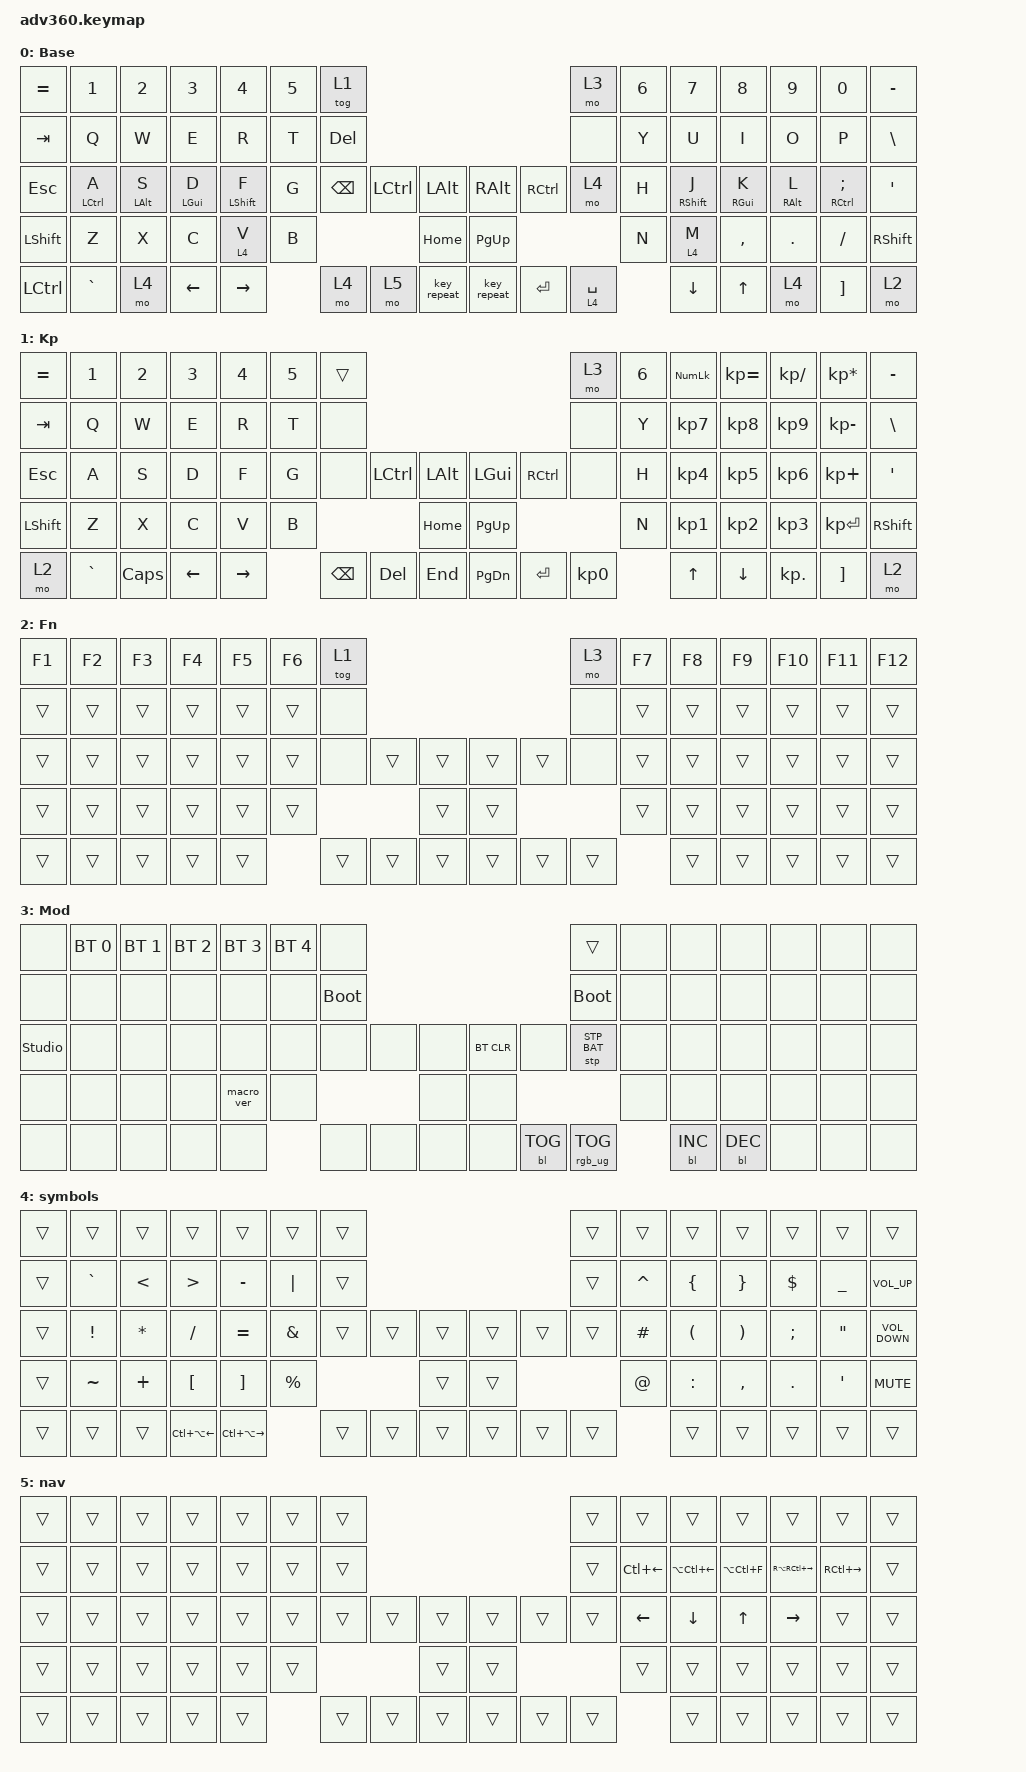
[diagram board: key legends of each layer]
#include <dt-bindings/zmk/stp.h>
#include <behaviors.dtsi>
#include <dt-bindings/zmk/backlight.h>
#include <dt-bindings/zmk/bt.h>
#include <dt-bindings/zmk/keys.h>
#include <dt-bindings/zmk/rgb.h>

/ {
    behaviors {
        #include "macros.dtsi"
        #include "version.dtsi"
        #include "key_pos.dtsi"

        hm: homerow_mods {
            compatible = "zmk,behavior-hold-tap";
            label = "HOMEROW_MODS";
            #binding-cells = <2>;
            tapping-term-ms = <200>;
            quick_tap_ms = <175>;
            flavor = "tap-preferred";
            bindings = <&kp>, <&kp>;
        };

        ltb: layer-tap-balanced {
            compatible = "zmk,behavior-hold-tap";
            label = "LTB";
            #binding-cells = <2>;
            quick_tap_ms = <175>;
            tapping-term-ms = <200>;
            flavor = "balanced";
            bindings = <&mo>, <&kp>;
        };

        hml: homerow_mod_left {
            compatible = "zmk,behavior-hold-tap";
            label = "HOMEROW_MODS_LEFT";
            flavor = "balanced";
            #binding-cells = <2>;
            tapping-term-ms = <280>;
            quick-tap-ms = <175>;
            bindings = <&kp>, <&kp>;

            hold-trigger-key-positions = <KEYS_R THUMBS_RIGHT>;
            hold-trigger-on-release;
        };

        hmr: homerow_mod_right {
            compatible = "zmk,behavior-hold-tap";
            label = "HOMEROW_MODS_RIGHT";
            flavor = "balanced";
            #binding-cells = <2>;
            tapping-term-ms = <280>;
            quick-tap-ms = <175>;
            bindings = <&kp>, <&kp>;

            hold-trigger-key-positions = <KEYS_L THUMBS_LEFT>;
            hold-trigger-on-release;
        };
    };

    keymap {
        compatible = "zmk,keymap";

        default_layer {
            display-name = "Base";
            bindings = <
&kp EQUAL         &kp N1        &kp N2       &kp N3       &kp N4             &kp N5  &tog 1                                                               &mo 3         &kp N6  &kp N7        &kp N8        &kp N9       &kp N0                &kp MINUS
&kp TAB           &kp Q         &kp W        &kp E        &kp R              &kp T   &kp DELETE                                                           &none         &kp Y   &kp U         &kp I         &kp O        &kp P                 &kp BSLH
&kp ESC           &hml LCTRL A  &hml LALT S  &hml LGUI D  &hml LEFT_SHIFT F  &kp G   &kp BACKSPACE  &kp LCTRL  &kp LALT         &kp RIGHT_ALT  &kp RCTRL  &mo 4         &kp H   &hmr RSHFT J  &hmr RGUI K   &hmr RALT L  &hmr RCTRL SEMICOLON  &kp SQT
&kp LSHFT         &kp Z         &kp X        &kp C        &ltb 4 V           &kp B                             &kp HOME         &kp PG_UP                               &kp N   &ltb 4 M      &kp COMMA     &kp DOT      &kp FSLH              &kp RSHFT
&kp LEFT_CONTROL  &kp GRAVE     &mo 4        &kp LEFT     &kp RIGHT                  &mo 4          &mo 5      &key_repeat      &key_repeat    &kp ENTER  &ltb 4 SPACE          &kp DOWN      &kp UP_ARROW  &mo 4        &kp RBKT              &mo 2
            >;
        };

        keypad {
            display-name = "Kp";
            bindings = <
&kp EQUAL  &kp N1     &kp N2    &kp N3    &kp N4     &kp N5  &trans                                                   &mo 3      &kp N6  &kp KP_NUM  &kp KP_EQUAL  &kp KP_DIVIDE  &kp KP_MULTIPLY  &kp MINUS
&kp TAB    &kp Q      &kp W     &kp E     &kp R      &kp T   &none                                                    &none      &kp Y   &kp KP_N7   &kp KP_N8     &kp KP_N9      &kp KP_MINUS     &kp BSLH
&kp ESC    &kp A      &kp S     &kp D     &kp F      &kp G   &none     &kp LCTRL  &kp LALT      &kp LGUI   &kp RCTRL  &none      &kp H   &kp KP_N4   &kp KP_N5     &kp KP_N6      &kp KP_PLUS      &kp SQT
&kp LSHFT  &kp Z      &kp X     &kp C     &kp V      &kp B                        &kp HOME      &kp PG_UP                        &kp N   &kp KP_N1   &kp KP_N2     &kp KP_N3      &kp KP_ENTER     &kp RSHFT
&mo 2      &kp GRAVE  &kp CAPS  &kp LEFT  &kp RIGHT          &kp BSPC  &kp DEL    &kp END       &kp PG_DN  &kp ENTER  &kp KP_N0          &kp UP      &kp DOWN      &kp KP_DOT     &kp RBKT         &mo 2
            >;
        };

        fn {
            display-name = "Fn";
            bindings = <
&kp F1  &kp F2  &kp F3  &kp F4  &kp F5  &kp F6  &tog 1                                      &mo 3   &kp F7  &kp F8  &kp F9  &kp F10  &kp F11  &kp F12
&trans  &trans  &trans  &trans  &trans  &trans  &none                                       &none   &trans  &trans  &trans  &trans   &trans   &trans
&trans  &trans  &trans  &trans  &trans  &trans  &none   &trans  &trans      &trans  &trans  &none   &trans  &trans  &trans  &trans   &trans   &trans
&trans  &trans  &trans  &trans  &trans  &trans                  &trans      &trans                  &trans  &trans  &trans  &trans   &trans   &trans
&trans  &trans  &trans  &trans  &trans          &trans  &trans  &trans      &trans  &trans  &trans          &trans  &trans  &trans   &trans   &trans
            >;
        };

        mod {
            display-name = "Mod";
            bindings = <
&none           &bt BT_SEL 0  &bt BT_SEL 1  &bt BT_SEL 2  &bt BT_SEL 3  &bt BT_SEL 4  &none                                                  &trans           &none  &none       &none       &none  &none  &none
&none           &none         &none         &none         &none         &none         &bootloader                                            &bootloader      &none  &none       &none       &none  &none  &none
&studio_unlock  &none         &none         &none         &none         &none         &none        &none  &none      &bt BT_CLR  &none       &stp STP_BAT     &none  &none       &none       &none  &none  &none
&none           &none         &none         &none         &macro_ver    &none                             &none      &none                                    &none  &none       &none       &none  &none  &none
&none           &none         &none         &none         &none                       &none        &none  &none      &none       &bl BL_TOG  &rgb_ug RGB_TOG         &bl BL_INC  &bl BL_DEC  &none  &none  &none
            >;
        };

        symbols {
            bindings = <
&trans  &trans           &trans         &trans            &trans             &trans       &trans                                      &trans  &trans     &trans                &trans                 &trans         &trans             &trans
&trans  &kp GRAVE        &kp LESS_THAN  &kp GREATER_THAN  &kp MINUS          &kp PIPE     &trans                                      &trans  &kp CARET  &kp LEFT_BRACE        &kp RIGHT_BRACE        &kp DOLLAR     &kp UNDER          &kp C_VOLUME_UP
&trans  &kp EXCLAMATION  &kp ASTERISK   &kp SLASH         &kp EQUAL          &kp AMPS     &trans  &trans  &trans      &trans  &trans  &trans  &kp HASH   &kp LEFT_PARENTHESIS  &kp RIGHT_PARENTHESIS  &kp SEMICOLON  &kp DOUBLE_QUOTES  &kp C_VOLUME_DOWN
&trans  &kp TILDE        &kp PLUS       &kp LEFT_BRACKET  &kp RIGHT_BRACKET  &kp PERCENT                  &trans      &trans                  &kp AT     &kp COLON             &kp COMMA              &kp PERIOD     &kp SINGLE_QUOTE   &kp K_MUTE
&trans  &trans           &trans         &kp LC(LA(LEFT))  &kp LC(LA(RIGHT))               &trans  &trans  &trans      &trans  &trans  &trans             &trans                &trans                 &trans         &trans             &trans
            >;
        };

        nav {
            bindings = <
&trans  &trans  &trans  &trans  &trans  &trans  &trans                                      &trans  &trans          &trans            &trans         &trans             &trans         &trans
&trans  &trans  &trans  &trans  &trans  &trans  &trans                                      &trans  &kp LC(LEFT)    &kp LA(LC(LEFT))  &kp LA(LC(F))  &kp RA(RC(RIGHT))  &kp RC(RIGHT)  &trans
&trans  &trans  &trans  &trans  &trans  &trans  &trans  &trans  &trans      &trans  &trans  &trans  &kp LEFT_ARROW  &kp DOWN          &kp UP_ARROW   &kp RIGHT          &trans         &trans
&trans  &trans  &trans  &trans  &trans  &trans                  &trans      &trans                  &trans          &trans            &trans         &trans             &trans         &trans
&trans  &trans  &trans  &trans  &trans          &trans  &trans  &trans      &trans  &trans  &trans                  &trans            &trans         &trans             &trans         &trans
            >;
        };
    };
};
